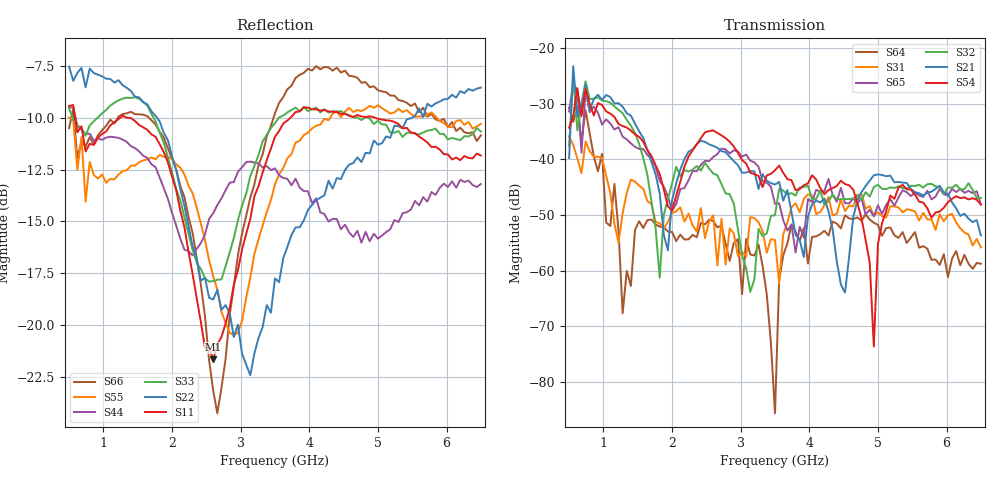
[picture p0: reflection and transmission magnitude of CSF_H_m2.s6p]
!Keysight Technologies,M9804A,MY58100912,A.14.10.03
!Date: Thursday, April 27, 2023 10:28:33
!Correction: S11(C  6-Port  )
!S12(C  6-Port  )
!S13(C  6-Port  )
!S14(C  6-Port  )
!S15(C  6-Port  )
!S16(C  6-Port  )
!S21(C  6-Port  )
!S22(C  6-Port  )
!S23(C  6-Port  )
!S24(C  6-Port  )
!S25(C  6-Port  )
!S26(C  6-Port  )
!S31(C  6-Port  )
!S32(C  6-Port  )
!S33(C  6-Port  )
!S34(C  6-Port  )
!S35(C  6-Port  )
!S36(C  6-Port  )
!S41(C  6-Port  )
!S42(C  6-Port  )
!S43(C  6-Port  )
!S44(C  6-Port  )
!S45(C  6-Port  )
!S46(C  6-Port  )
!S51(C  6-Port  )
!S52(C  6-Port  )
!S53(C  6-Port  )
!S54(C  6-Port  )
!S55(C  6-Port  )
!S56(C  6-Port  )
!S61(C  6-Port  )
!S62(C  6-Port  )
!S63(C  6-Port  )
!S64(C  6-Port  )
!S65(C  6-Port  )
!S66(C  6-Port  )
!S6P File: Measurement: :
# Hz S  RI  R 50
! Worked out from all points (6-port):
!   101 points, 500 MHz to 6.5 GHz, reference 50 ohm
!   strongest paths, dB at 500 MHz, 2 GHz, 3.5 GHz, 5 GHz, 6.5 GHz:
!     S54: -34.3, -49.2, -41.9, -55.2, -48.1
!     S21: -39.8, -47.3, -44.5, -42.7, -53.6
!     S32: -37.5, -44.3, -50.0, -44.5, -46.9
!     S65: -31.3, -49.2, -48.0, -48.2, -48.1
!     S31: -35.9, -49.6, -54.5, -49.5, -55.8
!     S64: -30.7, -53.0, -85.6, -51.7, -58.7
!   lowest |S11| = -21.7 dB at 2.6 GHz (marker M1), VSWR 1.18, Z = 42.6 + j1.99 ohm
!   |S11| at or under -10 dB: 588.7 MHz to 1.238 GHz (649.4 MHz wide, 71.1 % of centre); 1.397 GHz to 3.719 GHz (2.322 GHz wide, 90.8 % of centre); 4.972 GHz to end of sweep
